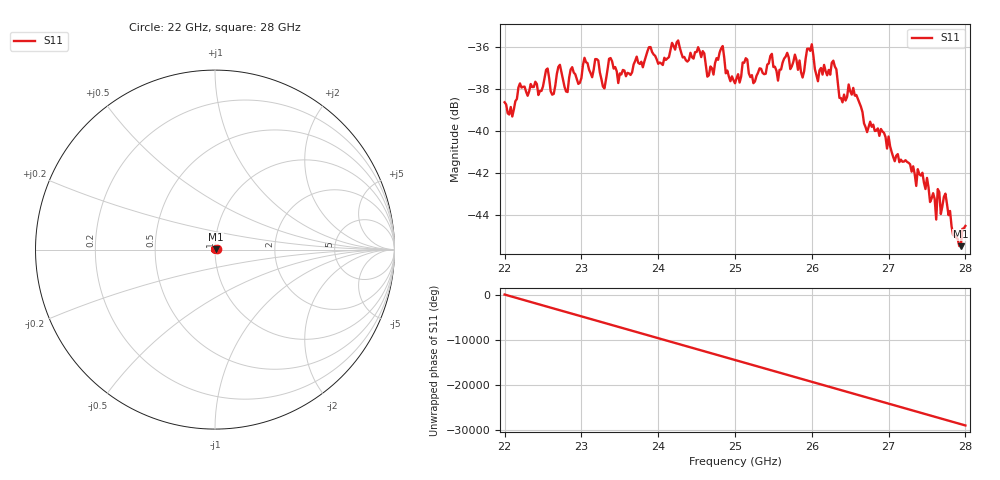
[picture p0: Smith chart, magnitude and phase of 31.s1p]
#  HZ  S  RI  R  50.00
! Rohde & Schwarz ZVA40 4Ports - Version 3.90 - 1145.1110k42 SN: 100403
! Date: 2023-10-04 07:28:43
! Measurement: S12
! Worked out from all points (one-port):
!   301 points, 22 GHz to 28 GHz, reference 50 ohm
!   lowest |S11| = -45.5 dB at 27.94 GHz (marker M1), VSWR 1.01, Z = 50.5 + j0.257 ohm
!   |S11| at or under -10 dB: start of sweep to end of sweep
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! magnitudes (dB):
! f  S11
! 22 GHz  -38.6
! 22.76 GHz  -37.6
! 23.04 GHz  -36.5
! 23.3 GHz  -38.0
! 23.5 GHz  -37.3
! 24.26 GHz  -35.7
! 24.58 GHz  -36.2
! 24.64 GHz  -37.4
! 24.84 GHz  -36.0
! 25 GHz  -37.7
! 25.14 GHz  -36.6
! 25.24 GHz  -37.7
! 25.76 GHz  -36.7
! 25.88 GHz  -37.5
! 26 GHz  -35.9
! 26.08 GHz  -37.6
! 26.28 GHz  -36.7
! 26.36 GHz  -38.4
! 26.5 GHz  -38.1
! 26.72 GHz  -40.1
! 27.26 GHz  -41.5
! 27.5 GHz  -42.2
! 27.62 GHz  -44.2
! 27.64 GHz  -42.8
! 27.68 GHz  -43.9
! 27.74 GHz  -43.0
! 27.94 GHz  -45.5
! 28 GHz  -44.5
